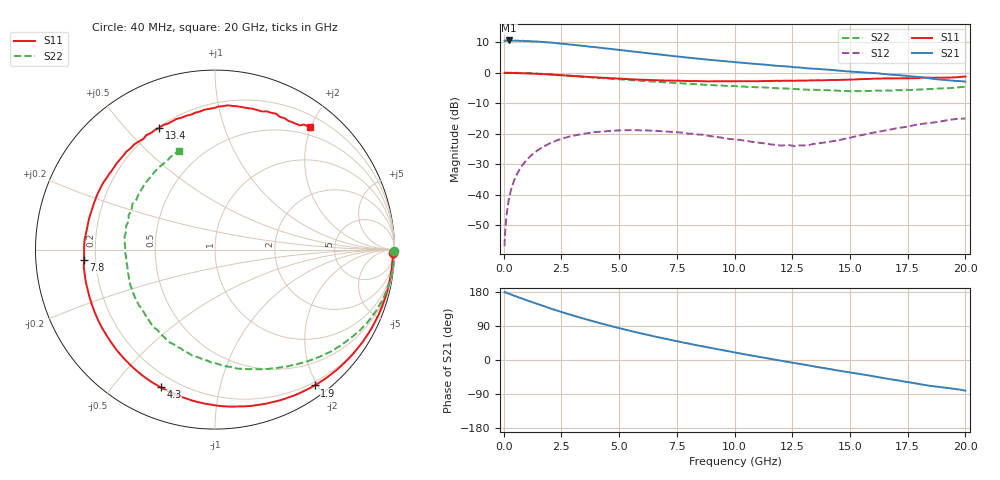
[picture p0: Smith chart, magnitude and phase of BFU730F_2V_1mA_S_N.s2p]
! Filename:  P:\Prog\Test\Noise\ATS_data\Testdata_Net\BFU730\BFU730_2W_B1_2V1mA_D.s2p
! Date/Time: Fri 29/Apr/2011 14:13:47
! BFU730_2W_B1_2V1mA
! bias mode 1: Vout= 2.0002 V, Iout= 1.0050 mA, Vin= 0.7463 V, Iin= 0.0026 mA
! Date/time Thu Mar 17 09:51:21 2011
! Device data file deembeded for feedlines and parallel
! Original file: \BFU730\BFU730_2W_B1_2V1mA_R.s2p
! Feed-files: PR003V01_101208_Feed1.s2p, PR003V01_101208_Feed2.s2p
! Parallel-file: PR003V01_101208_Par.s2p
# MHz S MA R 50
!  Freq-MHz  S11-mag  S11-arg  S21-mag  S21-arg  S12-mag  S12-arg  S22-mag  S22-arg
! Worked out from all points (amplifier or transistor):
!   167 points, 40 MHz to 20 GHz, reference 50 ohm
!   highest |S21| = 10.6 dB at 240 MHz (marker M1)
!   |S21| within 3 dB of that: start of sweep to 4.857 GHz
!   unconditionally stable (mu >= 1): 9.51 GHz to 17.33 GHz; 17.49 GHz to 17.7 GHz
!   at 550 MHz: K = 0.01, MSG = 22.1 dB, |S12| = -33.7 dB
!   at 4.2 GHz: K = 0.27, MSG = 13.7 dB, |S12| = -19.3 dB
!   at 20 GHz: K = 0.75, MSG = 6.1 dB, |S12| = -15.0 dB
!   lowest NFmin = 0.38 dB at 400 MHz
!   S11 on the Smith chart (normalised r, x): 40 MHz: 35, -81; 1.9 GHz: 0.15, -1.96; 4.3 GHz: 0.14, -0.67; 7.8 GHz: 0.15, -0.04; 13.4 GHz: 0.20, +0.62; 20 GHz: 0.37, +1.98
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40  0.9912 -1.2  3.356 179.4  0.001432 87.5  0.9997 -0.5
50  0.9917 -1.9  3.366 178.8  0.00211 97.8  0.9991 -0.7
120  0.9906 -3.5  3.35 177.3  0.004401 88.5  0.9997 -1.5
240  0.9894 -6.9  3.375 174.5  0.008925 86.8  0.9992 -3.1
460  0.9869 -13.3  3.362 169.6  0.01733 82.8  0.9966 -6.1
800  0.9792 -23.1  3.342 162.1  0.03008 75.9  0.9895 -10.6
1400  0.9596 -40.0  3.248 149.0  0.05109 64.3  0.9684 -18.3
1900  0.9389 -53.7  3.15 138.6  0.06642 55.3  0.9452 -24.4
2700  0.898 -74.5  2.945 123.0  0.08693 41.5  0.9003 -33.5
3400  0.8644 -91.4  2.764 110.3  0.09883 30.7  0.8621 -41.0
4300  0.8251 -111.6  2.531 95.2  0.1091 18.4  0.8119 -49.7
5600  0.7765 -138.0  2.216 75.2  0.1142 2.6  0.7478 -61.6
6800  0.7474 -159.4  1.966 58.7  0.1101 -9.5  0.7004 -72.0
7800  0.7321 -175.6  1.794 45.7  0.1037 -17.6  0.665 -81.3
8800  0.722 169.7  1.641 33.6  0.0934 -23.5  0.6305 -90.4
10200  0.725 151.0  1.47 17.6  0.07927 -26.1  0.5944 -104.8
12000  0.7348 130.0  1.287 -1.6  0.0638 -19.4  0.5508 -125.7
13400  0.7469 114.6  1.167 -16.2  0.0679 -6.6  0.5251 -143.9
14800  0.7642 99.9  1.059 -30.8  0.08274 1.0  0.5015 -166.3
16800  0.8081 81.0  0.9248 -51.1  0.1179 -2.6  0.5067 161.7
18200  0.8251 67.2  0.8363 -65.5  0.1461 -10.8  0.5352 137.3
20000  0.8625 52.2  0.7148 -80.9  0.1773 -24.3  0.5859 110.2
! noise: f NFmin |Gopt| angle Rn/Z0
400  0.3832  0.8344  7.56  0.4076
800  0.4348  0.7727  17.08  0.4054
1400  0.5147  0.7099  31.36  0.394
2000  0.5973  0.6718  44.97  0.3743
2600  0.6828  0.6468  57.56  0.348
3900  0.8776  0.603  82.07  0.2756
5400  1.119  0.5472  109.7  0.1837
8200  1.616  0.5341  167.7  0.0707
1.1e+04  2.174  0.6516  212.3  0.1706
1.4e+04  2.84  0.5736  258.9  0.6976
